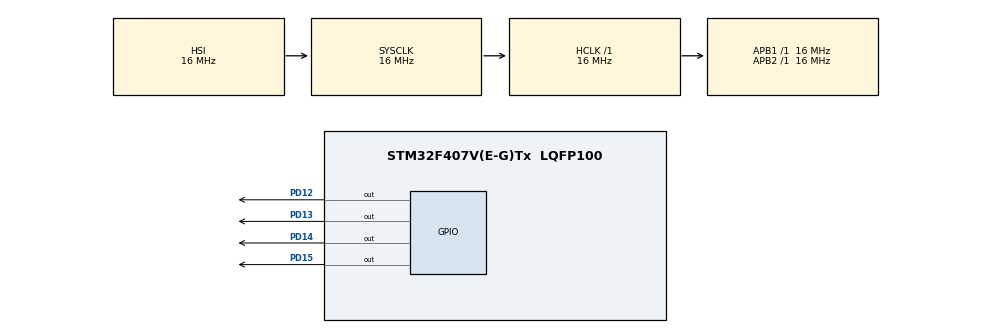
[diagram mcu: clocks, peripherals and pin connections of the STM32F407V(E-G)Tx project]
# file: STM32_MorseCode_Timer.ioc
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Mcu.Family=STM32F4
Mcu.Name=STM32F407V(E-G)Tx
Mcu.Package=LQFP100
NVIC.PriorityGroup=NVIC_PRIORITYGROUP_4
NVIC.TIM2_IRQn=true\:0\:0\:false\:false\:true\:true\:true\:true
PD12.Signal=GPIO_Output
PD13.Signal=GPIO_Output
PD14.Signal=GPIO_Output
PD15.Signal=GPIO_Output
ProjectManager.HeapSize=0x200
ProjectManager.StackSize=0x400
ProjectManager.TargetToolchain=STM32CubeIDE
RCC.AHBFreq_Value=16000000
RCC.APB1Freq_Value=16000000
RCC.APB2Freq_Value=16000000
RCC.CortexFreq_Value=16000000
RCC.HSE_VALUE=25000000
RCC.HSI_VALUE=16000000
RCC.LSE_VALUE=32768
RCC.SYSCLKFreq_VALUE=16000000
RCC.VCOOutputFreq_Value=192000000
TIM2.Period=999
TIM2.Prescaler=15
VP_TIM2_VS_ClockSourceINT.Mode=Internal
board=custom

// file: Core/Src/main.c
/* USER CODE BEGIN Header */
/**
  ******************************************************************************
  * @file           : main.c
  * @brief          : Main program body
  ******************************************************************************
  * @attention
  *
  * Copyright (c) 2026 STMicroelectronics.
  * All rights reserved.
  *
  * This software is licensed under terms that can be found in the LICENSE file
  * in the root directory of this software component.
  * If no LICENSE file comes with this software, it is provided AS-IS.
  *
  ******************************************************************************
  */
/* USER CODE END Header */
#include "main.h"

TIM_HandleTypeDef htim2;

/* USER CODE BEGIN PV */

volatile uint32_t ms_counter = 0;
uint32_t last_time = 0;
uint8_t step = 0;
uint16_t sos_durations[] = {
    250, 250, 250, 250, 250, 250,  // S (...) -> Yan, Sön, Yan, Sön, Yan, Sön
    750, 250, 750, 250, 750, 250,  // O (---) -> Yan, Sön, Yan, Sön, Yan, Sön
    250, 250, 250, 250, 250, 1500  // S (...) + Uzun Mola
};

/* USER CODE END PV */

void SystemClock_Config(void);
static void MX_GPIO_Init(void);
static void MX_TIM2_Init(void);

int main(void)
{

  /* MCU Configuration--------------------------------------------------------*/

  /* Reset of all peripherals, Initializes the Flash interface and the Systick. */
  HAL_Init();

  /* Configure the system clock */
  SystemClock_Config();

  /* Initialize all configured peripherals */
  MX_GPIO_Init();
  MX_TIM2_Init();
  /* USER CODE BEGIN 2 */
  HAL_TIM_Base_Start_IT(&htim2);
  HAL_GPIO_WritePin(GPIOD, GPIO_PIN_12, GPIO_PIN_SET);
  /* USER CODE END 2 */

  /* Infinite loop */
  /* USER CODE BEGIN WHILE */
  while (1)
  {
	  if(ms_counter - last_time >= sos_durations[step]){

          last_time = ms_counter;
		  step++;

		  if (step >= 18)
		  {
		      step = 0;
		  }

		  if(step % 2 == 0){
			  HAL_GPIO_WritePin(GPIOD, GPIO_PIN_12, GPIO_PIN_SET);
		  }
		  else{
			  HAL_GPIO_WritePin(GPIOD, GPIO_PIN_12, GPIO_PIN_RESET);
		  }

	  }

    /* USER CODE END WHILE */

  }
}

void SystemClock_Config(void)
{
  RCC_OscInitTypeDef RCC_OscInitStruct = {0};
  RCC_ClkInitTypeDef RCC_ClkInitStruct = {0};

  /** Configure the main internal regulator output voltage
  */
  __HAL_RCC_PWR_CLK_ENABLE();
  __HAL_PWR_VOLTAGESCALING_CONFIG(PWR_REGULATOR_VOLTAGE_SCALE1);

  /** Initializes the RCC Oscillators according to the specified parameters
  * in the RCC_OscInitTypeDef structure.
  */
  RCC_OscInitStruct.OscillatorType = RCC_OSCILLATORTYPE_HSI;
  RCC_OscInitStruct.HSIState = RCC_HSI_ON;
  RCC_OscInitStruct.HSICalibrationValue = RCC_HSICALIBRATION_DEFAULT;
  RCC_OscInitStruct.PLL.PLLState = RCC_PLL_NONE;
  if (HAL_RCC_OscConfig(&RCC_OscInitStruct) != HAL_OK)
  {
    Error_Handler();
  }

  /** Initializes the CPU, AHB and APB buses clocks
  */
  RCC_ClkInitStruct.ClockType = RCC_CLOCKTYPE_HCLK|RCC_CLOCKTYPE_SYSCLK
                              |RCC_CLOCKTYPE_PCLK1|RCC_CLOCKTYPE_PCLK2;
  RCC_ClkInitStruct.SYSCLKSource = RCC_SYSCLKSOURCE_HSI;
  RCC_ClkInitStruct.AHBCLKDivider = RCC_SYSCLK_DIV1;
  RCC_ClkInitStruct.APB1CLKDivider = RCC_HCLK_DIV1;
  RCC_ClkInitStruct.APB2CLKDivider = RCC_HCLK_DIV1;

  if (HAL_RCC_ClockConfig(&RCC_ClkInitStruct, FLASH_LATENCY_0) != HAL_OK)
  {
    Error_Handler();
  }
}

static void MX_TIM2_Init(void)
{

  TIM_ClockConfigTypeDef sClockSourceConfig = {0};
  TIM_MasterConfigTypeDef sMasterConfig = {0};

  htim2.Instance = TIM2;
  htim2.Init.Prescaler = 15;
  htim2.Init.CounterMode = TIM_COUNTERMODE_UP;
  htim2.Init.Period = 999;
  htim2.Init.ClockDivision = TIM_CLOCKDIVISION_DIV1;
  htim2.Init.AutoReloadPreload = TIM_AUTORELOAD_PRELOAD_DISABLE;
  if (HAL_TIM_Base_Init(&htim2) != HAL_OK)
  {
    Error_Handler();
  }
  sClockSourceConfig.ClockSource = TIM_CLOCKSOURCE_INTERNAL;
  if (HAL_TIM_ConfigClockSource(&htim2, &sClockSourceConfig) != HAL_OK)
  {
    Error_Handler();
  }
  sMasterConfig.MasterOutputTrigger = TIM_TRGO_RESET;
  sMasterConfig.MasterSlaveMode = TIM_MASTERSLAVEMODE_DISABLE;
  if (HAL_TIMEx_MasterConfigSynchronization(&htim2, &sMasterConfig) != HAL_OK)
  {
    Error_Handler();
  }

}

static void MX_GPIO_Init(void)
{
  GPIO_InitTypeDef GPIO_InitStruct = {0};

  /* GPIO Ports Clock Enable */
  __HAL_RCC_GPIOD_CLK_ENABLE();

  /*Configure GPIO pin Output Level */
  HAL_GPIO_WritePin(GPIOD, GPIO_PIN_12|GPIO_PIN_13|GPIO_PIN_14|GPIO_PIN_15, GPIO_PIN_RESET);

  /*Configure GPIO pins : PD12 PD13 PD14 PD15 */
  GPIO_InitStruct.Pin = GPIO_PIN_12|GPIO_PIN_13|GPIO_PIN_14|GPIO_PIN_15;
  GPIO_InitStruct.Mode = GPIO_MODE_OUTPUT_PP;
  GPIO_InitStruct.Pull = GPIO_NOPULL;
  GPIO_InitStruct.Speed = GPIO_SPEED_FREQ_LOW;
  HAL_GPIO_Init(GPIOD, &GPIO_InitStruct);

}

/* USER CODE BEGIN 4 */
void HAL_TIM_PeriodElapsedCallback(TIM_HandleTypeDef *htim){
	 if(htim->Instance == TIM2){
		 ms_counter++;
	 }
}
/* USER CODE END 4 */

void Error_Handler(void)
{
  __disable_irq();
  while (1)
  {
  }
}
